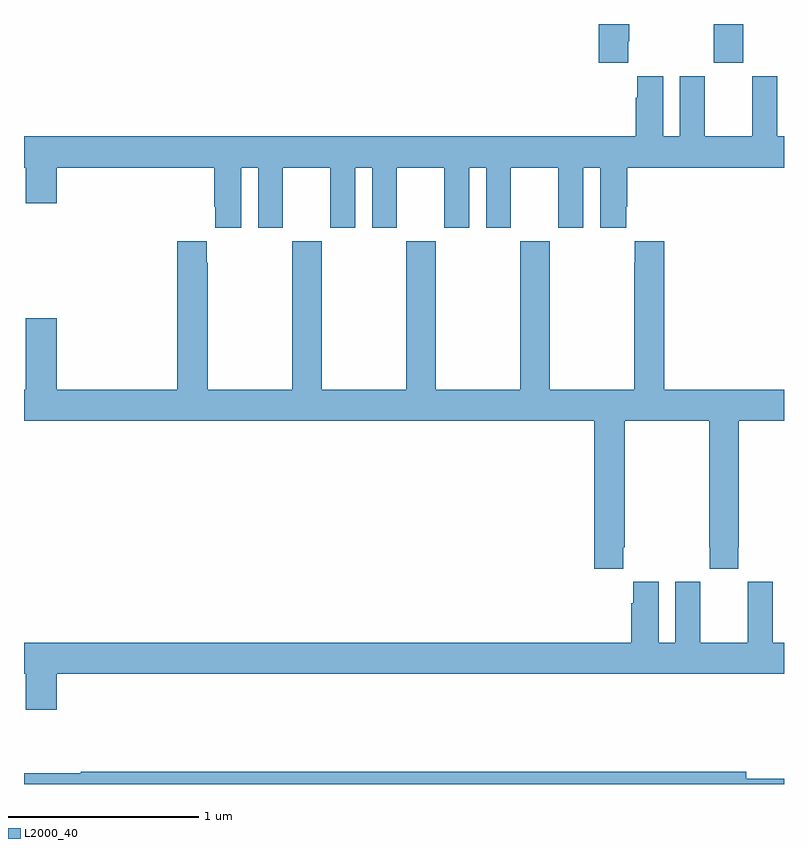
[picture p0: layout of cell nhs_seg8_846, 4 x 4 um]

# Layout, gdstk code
import gdstk
lib = gdstk.Library(unit=1e-6, precision=1e-09)
def R(c, l, rs):  # rectangles x0, y0, x1, y1
    for r in rs: c.add(gdstk.rectangle(r[:2], r[2:], *l))
def P(c, l, *ps):  # polygons
    for p in ps: c.add(gdstk.Polygon(p, *l))
L2000_40 = (2000, 40)

nhs_seg8_846 = lib.new_cell('nhs_seg8_846')
R(nhs_seg8_846, L2000_40, [(168.631,1139.697,168.786,1139.9)])
P(nhs_seg8_846, L2000_40, [(168.181,1139.809),(168.186,1139.809),(168.186,1139.9),(168.026,1139.9),(168.026,1139.697),(168.181,1139.697)],
  [(166.144,1139.144),(166.232,1139.144),(166.232,1138.827),(166.363,1138.827),(166.363,1139.144),(166.613,1139.144),(166.613,1138.827),(166.744,1138.827),(166.744,1139.144),(166.832,1139.144),(166.832,1138.827),(166.963,1138.827),(166.963,1139.144),(167.213,1139.144),(167.213,1138.827),(167.344,1138.827),(167.344,1139.144),(167.432,1139.144),(167.432,1138.827),(167.563,1138.827),(167.563,1139.144),(167.813,1139.144),(167.813,1138.827),(167.944,1138.827),(167.944,1139.144),(168.032,1139.144),(168.032,1138.827),(168.169,1138.827),(168.169,1138.939),(168.176,1138.939),(168.176,1139.144),(169,1139.144),(169,1139.308),(168.964,1139.308),(168.964,1139.626),(168.833,1139.626),(168.833,1139.308),(168.583,1139.308),(168.583,1139.626),(168.452,1139.626),(168.452,1139.308),(168.364,1139.308),(168.364,1139.626),(168.227,1139.626),(168.227,1139.513),(168.221,1139.513),(168.221,1139.308),(165,1139.308),(165,1139.144),(165.008,1139.144),(165.008,1138.956),(165.172,1138.956),(165.172,1139.144),(166.001,1139.144),(166.001,1138.939),(166.007,1138.939),(166.007,1138.827),(166.144,1138.827)],
  [(168.155,1137.145),(168.162,1137.145),(168.162,1137.812),(168.607,1137.812),(168.607,1137.145),(168.609,1137.145),(168.609,1137.033),(168.759,1137.033),(168.759,1137.145),(168.762,1137.145),(168.762,1137.812),(169,1137.812),(169,1137.976),(168.371,1137.976),(168.371,1138.756),(168.215,1138.756),(168.215,1138.643),(168.211,1138.643),(168.211,1137.976),(167.766,1137.976),(167.766,1138.756),(167.611,1138.756),(167.611,1137.976),(167.166,1137.976),(167.166,1138.756),(167.011,1138.756),(167.011,1137.976),(166.566,1137.976),(166.566,1138.756),(166.411,1138.756),(166.411,1137.976),(165.966,1137.976),(165.966,1138.643),(165.961,1138.643),(165.961,1138.756),(165.806,1138.756),(165.806,1137.976),(165.172,1137.976),(165.172,1138.351),(165.008,1138.351),(165.008,1137.976),(165,1137.976),(165,1137.812),(168.002,1137.812),(168.002,1137.033),(168.155,1137.033)],
  [(165.172,1136.48),(169,1136.48),(169,1136.644),(168.94,1136.644),(168.94,1136.965),(168.81,1136.965),(168.81,1136.852),(168.809,1136.852),(168.809,1136.644),(168.559,1136.644),(168.559,1136.852),(168.558,1136.852),(168.558,1136.965),(168.428,1136.965),(168.428,1136.644),(168.34,1136.644),(168.34,1136.965),(168.206,1136.965),(168.206,1136.852),(168.197,1136.852),(168.197,1136.644),(165,1136.644),(165,1136.48),(165.008,1136.48),(165.008,1136.292),(165.172,1136.292)],
  [(169,1135.928),(168.802,1135.928),(168.802,1135.964),(165.298,1135.964),(165.298,1135.957),(165,1135.957),(165,1135.9),(169,1135.9)])

lib.write_gds('nhs_seg8_846.gds')
